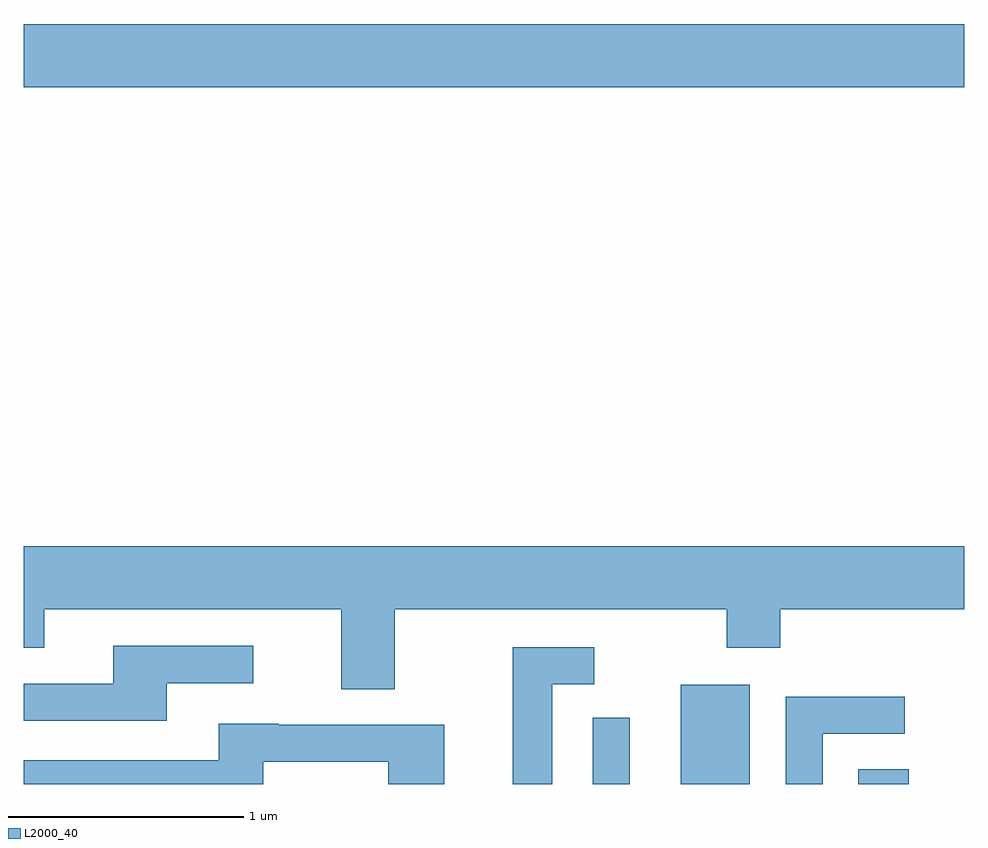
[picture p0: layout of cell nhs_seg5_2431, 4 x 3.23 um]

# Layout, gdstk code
import gdstk
lib = gdstk.Library(unit=1e-6, precision=1e-09)
def R(c, l, rs):  # rectangles x0, y0, x1, y1
    for r in rs: c.add(gdstk.rectangle(r[:2], r[2:], *l))
def P(c, l, *ps):  # polygons
    for p in ps: c.add(gdstk.Polygon(p, *l))
L2000_40 = (2000, 40)

nhs_seg5_2431 = lib.new_cell('nhs_seg5_2431')
R(nhs_seg5_2431, L2000_40, [(260.031,1436.072,260.189,1436.353), (260.406,1436.072,260.699,1436.494), (261.161,1436.072,261.374,1436.134), (257.611,1439.036,261.611,1439.304)])
P(nhs_seg5_2431, L2000_40, [(259.189,1436.816),(260.601,1436.816),(260.601,1436.651),(260.829,1436.651),(260.829,1436.816),(261.611,1436.816),(261.611,1437.084),(257.611,1437.084),(257.611,1436.651),(257.699,1436.651),(257.699,1436.816),(258.961,1436.816),(258.961,1436.476),(259.189,1436.476)],
  [(258.219,1436.501),(258.587,1436.501),(258.587,1436.659),(257.991,1436.659),(257.991,1436.499),(257.611,1436.499),(257.611,1436.341),(258.219,1436.341)],
  [(259.859,1436.496),(260.038,1436.496),(260.038,1436.654),(259.691,1436.654),(259.691,1436.072),(259.859,1436.072)],
  [(261.009,1436.286),(261.358,1436.286),(261.358,1436.444),(260.851,1436.444),(260.851,1436.072),(261.009,1436.072)],
  [(258.629,1436.166),(259.161,1436.166),(259.161,1436.072),(259.399,1436.072),(259.399,1436.324),(258.695,1436.324),(258.695,1436.329),(258.441,1436.329),(258.441,1436.174),(257.611,1436.174),(257.611,1436.072),(258.629,1436.072)])

lib.write_gds('nhs_seg5_2431.gds')
